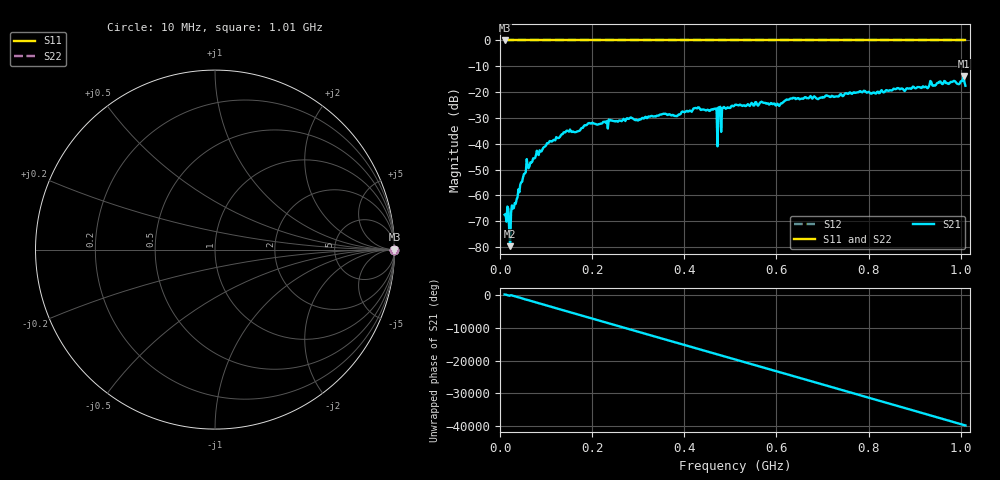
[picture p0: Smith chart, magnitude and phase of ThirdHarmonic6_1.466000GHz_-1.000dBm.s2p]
! 8/16/2025 5:04:19 PM
! C:\ANRITSUVNA\TEMP\TEMP.S2P
! CHANNEL.1
! TR.MEASUREMENT
! RAW.DATA
! RF.CORRECTION.OFF
! AVERAGING.OFF
! IF.BANDWIDTH: 5KHZ
! SWEEPTYPE:  FREQ.SWEEP(Linear)
! Reference Plane Port Info
! PORT:  PORT1  PORT2
! DISTANCE:  0  m  0  m
! TIME:  0  s  0  s
! PHASE.OFFSET:  0  deg.  0  deg.
! LOSS:  0  dB  0  dB
! REF.LOSS:  0  dB  0  dB
! REF.FREQ:  0  Hz  0  Hz
! Power Info
! POWER:  -20  dBm  -20  dBm
! EFF.POWER:  -20  dBm  -20  dBm
! SOURCE.ATTEN:  0  dB  0  dB
! TEST.ATTEN:  0  dB  0  dB
# GHZ S RI R 50.0
! FREQ.GHZ  S11RE  S11IM  S21RE  S21IM  S12RE  S12IM  S22RE  S22IM
!; PortSelection: Port_12
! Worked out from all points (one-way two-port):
!   501 points, 10 MHz to 1.01 GHz, reference 50 ohm
!   highest |S21| = -13.78 dB at 1.006 GHz (marker M1); lowest = -79.7 dB at 22 MHz (marker M2)
!   lowest |S11| = 0.0 dB at 10 MHz (marker M3)
!   |S11| at or under -10 dB: nowhere
!   |S22| runs from 0.0 to 0.0 dB; largest |S21 - S12| = 1.2
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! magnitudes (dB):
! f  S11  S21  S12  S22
! 10 MHz  0.0  -67.5  0.0  0.0
! 14 MHz  0.0  -70.2  0.0  0.0
! 18 MHz  0.0  -65.1  0.0  0.0
! 22 MHz  0.0  -79.7  0.0  0.0
! 24 MHz  0.0  -66.7  0.0  0.0
! 28 MHz  0.0  -65.1  0.0  0.0
! 62 MHz  0.0  -49.5  0.0  0.0
! 106 MHz  0.0  -39.6  0.0  0.0
! 178 MHz  0.0  -33.9  0.0  0.0
! 344 MHz  0.0  -29.1  0.0  0.0
! 466 MHz  0.0  -26.4  0.0  0.0
! 468 MHz  0.0  -26.6  0.0  0.0
! 474 MHz  0.0  -25.9  0.0  0.0
! 476 MHz  0.0  -26.1  0.0  0.0
! 478 MHz  0.0  -25.7  0.0  0.0
! 486 MHz  0.0  -25.7  0.0  0.0
! 510 MHz  0.0  -24.9  0.0  0.0
! 602 MHz  0.0  -24.5  0.0  0.0
! 678 MHz  0.0  -22.6  0.0  0.0
! 844 MHz  0.0  -19.5  0.0  0.0
! 1.006 GHz  0.0  -13.8  0.0  0.0
! 1.01 GHz  0.0  -17.5  0.0  0.0
